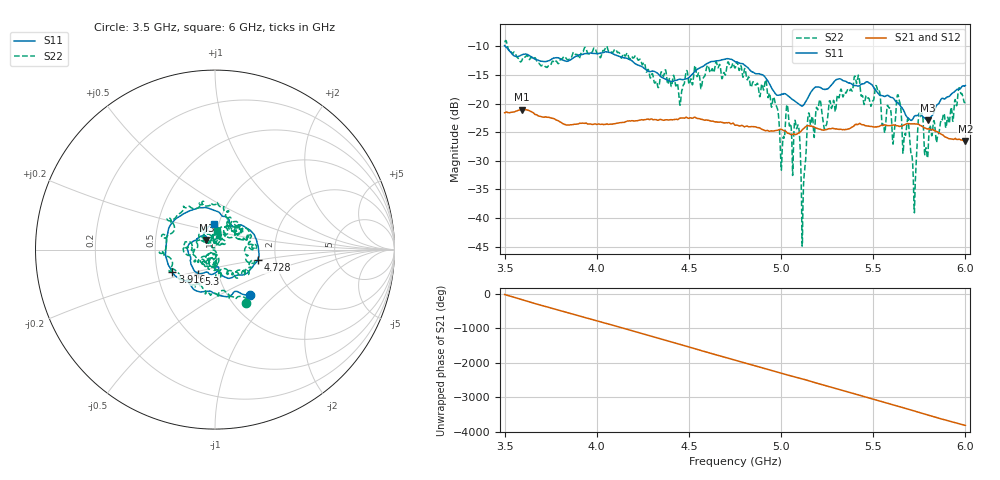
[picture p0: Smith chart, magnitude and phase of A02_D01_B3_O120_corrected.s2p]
! Created with skrf 1.9.0 (http://scikit-rf.org).
# Hz S RI R 50.0
!freq ReS11 ImS11 ReS21 ImS21 ReS12 ImS12 ReS22 ImS22
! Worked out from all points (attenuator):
!   1601 points, 3.5 GHz to 6 GHz, reference 50 ohm
!   highest |S21| = -21.04 dB at 3.592 GHz (marker M1); lowest = -26.5 dB at 6 GHz (marker M2)
!   lowest |S11| = -22.9 dB at 5.795 GHz (marker M3), VSWR 1.15, Z = 45.2 + j4.82 ohm
!   |S11| at or under -10 dB: 3.506 GHz to end of sweep
!   |S22| runs from -44.9 to -8.9 dB; largest |S21 - S12| = 0.0013
!   S11 on the Smith chart (normalised r, x): 3.5 GHz: 1.26, -0.72; 3.916 GHz: 0.60, -0.16; 4.728 GHz: 1.61, -0.20; 5.3 GHz: 0.80, -0.22; 6 GHz: 0.94, +0.28
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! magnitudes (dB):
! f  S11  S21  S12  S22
! 3.5 GHz  -9.8  -21.6  -21.6  -9.3
! 3.592 GHz  -11.5  -21.0  -21.1  -12.5
! 3.916 GHz  -11.4  -23.5  -23.4  -11.1
! 3.917 GHz  -11.4  -23.4  -23.4  -11.0
! 4.334 GHz  -14.8  -22.9  -22.8  -17.2
! 4.728 GHz  -12.2  -23.5  -23.5  -13.6
! 4.75 GHz  -12.6  -23.8  -23.7  -13.8
! 4.967 GHz  -18.2  -24.7  -24.7  -19.8
! 5.005 GHz  -18.3  -24.5  -24.6  -29.1
! 5.086 GHz  -19.9  -25.3  -25.3  -24.3
! 5.119 GHz  -20.3  -24.5  -24.4  -37.8
! 5.145 GHz  -19.0  -23.9  -23.8  -22.5
! 5.167 GHz  -17.7  -24.0  -23.9  -22.4
! 5.3 GHz  -15.8  -24.4  -24.4  -20.0
! 5.411 GHz  -16.9  -23.6  -23.7  -16.2
! 5.584 GHz  -18.7  -23.8  -23.8  -20.6
! 5.611 GHz  -19.1  -23.7  -23.7  -26.0
! 5.639 GHz  -20.0  -23.9  -23.9  -19.0
! 5.72 GHz  -22.3  -23.5  -23.5  -36.5
! 5.755 GHz  -21.8  -23.8  -23.8  -22.1
! 5.795 GHz  -22.9  -24.4  -24.4  -29.3
! 6 GHz  -16.8  -26.5  -26.5  -19.8
